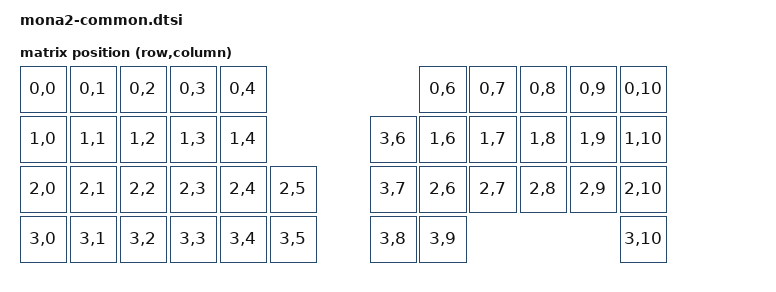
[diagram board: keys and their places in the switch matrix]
/*
 * Shared by the left half, right half AND the dongle.
 * Must NOT reference any board-specific pins (e.g. &xiao_d), because the
 * dongle (nRF52840 MDK USB Dongle) is a different board.
 */
#include <dt-bindings/zmk/matrix_transform.h>
#include <input/processors.dtsi>
#include <dt-bindings/zmk/input_transform.h>
#include <zephyr/dt-bindings/input/input-event-codes.h>
#include <physical_layouts.dtsi>

/ {
    chosen {
        zmk,physical-layout = &physical_layout0;
    };

    physical_layout0: physical_layout_0 {
        compatible = "zmk,physical-layout";
        display-name = "default_layout";

        transform = <&default_transform>;

        keys  //                     w   h    x    y     rot    rx    ry
            = <&key_physical_attrs 100 100    0    0       0     0     0>
            , <&key_physical_attrs 100 100  100    0       0     0     0>
            , <&key_physical_attrs 100 100  200    0       0     0     0>
            , <&key_physical_attrs 100 100  300    0       0     0     0>
            , <&key_physical_attrs 100 100  400    0       0     0     0>
            , <&key_physical_attrs 100 100  800    0       0     0     0>
            , <&key_physical_attrs 100 100  900    0       0     0     0>
            , <&key_physical_attrs 100 100 1000    0       0     0     0>
            , <&key_physical_attrs 100 100 1100    0       0     0     0>
            , <&key_physical_attrs 100 100 1200    0       0     0     0>
            , <&key_physical_attrs 100 100    0  100       0     0     0>
            , <&key_physical_attrs 100 100  100  100       0     0     0>
            , <&key_physical_attrs 100 100  200  100       0     0     0>
            , <&key_physical_attrs 100 100  300  100       0     0     0>
            , <&key_physical_attrs 100 100  400  100       0     0     0>
            , <&key_physical_attrs 100 100  700  100       0     0     0>
            , <&key_physical_attrs 100 100  800  100       0     0     0>
            , <&key_physical_attrs 100 100  900  100       0     0     0>
            , <&key_physical_attrs 100 100 1000  100       0     0     0>
            , <&key_physical_attrs 100 100 1100  100       0     0     0>
            , <&key_physical_attrs 100 100 1200  100       0     0     0>
            , <&key_physical_attrs 100 100    0  200       0     0     0>
            , <&key_physical_attrs 100 100  100  200       0     0     0>
            , <&key_physical_attrs 100 100  200  200       0     0     0>
            , <&key_physical_attrs 100 100  300  200       0     0     0>
            , <&key_physical_attrs 100 100  400  200       0     0     0>
            , <&key_physical_attrs 100 100  500  200       0     0     0>
            , <&key_physical_attrs 100 100  700  200       0     0     0>
            , <&key_physical_attrs 100 100  800  200       0     0     0>
            , <&key_physical_attrs 100 100  900  200       0     0     0>
            , <&key_physical_attrs 100 100 1000  200       0     0     0>
            , <&key_physical_attrs 100 100 1100  200       0     0     0>
            , <&key_physical_attrs 100 100 1200  200       0     0     0>
            , <&key_physical_attrs 100 100    0  300       0     0     0>
            , <&key_physical_attrs 100 100  100  300       0     0     0>
            , <&key_physical_attrs 100 100  200  300       0     0     0>
            , <&key_physical_attrs 100 100  300  300       0     0     0>
            , <&key_physical_attrs 100 100  400  300       0     0     0>
            , <&key_physical_attrs 100 100  500  300       0     0     0>
            , <&key_physical_attrs 100 100  700  300       0     0     0>
            , <&key_physical_attrs 100 100  800  300       0     0     0>
            , <&key_physical_attrs 100 100 1200  300       0     0     0>
            ;
    };

    default_transform: keymap_transform_0 {
        compatible = "zmk,matrix-transform";
        columns = <11>;
        rows = <4>;               
        map = <
            RC(0,0) RC(0,1) RC(0,2) RC(0,3) RC(0,4)                     RC(0,6) RC(0,7) RC(0,8) RC(0,9) RC(0,10)
            RC(1,0) RC(1,1) RC(1,2) RC(1,3) RC(1,4)             RC(3,6) RC(1,6) RC(1,7) RC(1,8) RC(1,9) RC(1,10)
            RC(2,0) RC(2,1) RC(2,2) RC(2,3) RC(2,4) RC(2,5)     RC(3,7) RC(2,6) RC(2,7) RC(2,8) RC(2,9) RC(2,10)
            RC(3,0) RC(3,1) RC(3,2) RC(3,3) RC(3,4) RC(3,5)     RC(3,8) RC(3,9)                         RC(3,10)         
        >;
    };
    
    /*
     * Trackball (PAW3222 on the right half) forwarded over the split link.
     * - On the right half (peripheral) this proxies the real sensor.
     * - On the dongle (central) this acts as the input device.
     */
    split_inputs {
        #address-cells = <1>;
        #size-cells = <0>;

        trackball_split: trackball_split@0 {
            compatible = "zmk,input-split";
            reg = <0>;
            /* Enabled only on the right half and the dongle. */
            status = "disabled";
        };
    };

    /* Listener lives on the central (dongle); disabled elsewhere. */
    trackball_listener: trackball_listener {
        compatible = "zmk,input-listener";
        status = "disabled";
        device = <&trackball_split>;

        /*
         * Layer 1 (Navigation): trackball becomes a scroll wheel.
         * Vertical scroll (up/down) is kept; horizontal scroll (left/right)
         * is zeroed out via zip_scroll_h_disable's 0 multiplier.
         */
        scroller {
            layers = <1>;
            input-processors =
                <&zip_xy_transform INPUT_TRANSFORM_X_INVERT>,
                <&zip_xy_to_scroll_mapper>,
                <&zip_scroll_transform (INPUT_TRANSFORM_X_INVERT | INPUT_TRANSFORM_Y_INVERT)>,
                <&zip_scroll_v_scaler 1 5>,
                <&zip_scroll_h_disable 0 1>;
        };
    };

    /* Vertical scroll: same scale as the previous combined scroll scaler. */
    zip_scroll_v_scaler: zip_scroll_v_scaler {
        compatible = "zmk,input-processor-scaler";
        #input-processor-cells = <2>;
        type = <INPUT_EV_REL>;
        codes = <INPUT_REL_WHEEL>;
        track-remainders;
    };

    /* Horizontal scroll: multiplier is set to 0 at the call site to disable it. */
    zip_scroll_h_disable: zip_scroll_h_disable {
        compatible = "zmk,input-processor-scaler";
        #input-processor-cells = <2>;
        type = <INPUT_EV_REL>;
        codes = <INPUT_REL_HWHEEL>;
        track-remainders;
    };
};
